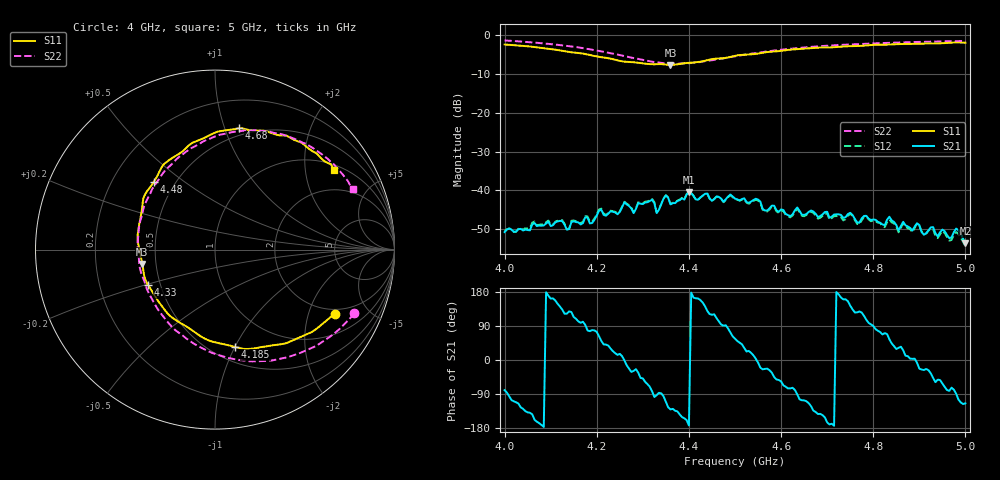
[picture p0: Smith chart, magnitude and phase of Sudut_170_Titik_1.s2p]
# Hz S RI R 50
! CMT, C1220, 16058040, 17.2.0/1
! Date: 15/08/2018 11:33:39
! Data: Format (Calibration Info)
! Freq  S11: Re/Im (F2)  S21: Re/Im (F2)  S12: Re/Im (F2)  S22: Re/Im (F2)
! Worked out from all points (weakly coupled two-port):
!   201 points, 4 GHz to 5 GHz, reference 50 ohm
!   highest |S21| = -40.44 dB at 4.4 GHz (marker M1); lowest = -53.6 dB at 5 GHz (marker M2)
!   lowest |S11| = -7.7 dB at 4.36 GHz (marker M3), VSWR 2.40, Z = 21 - j4.01 ohm
!   |S11| at or under -10 dB: nowhere
!   |S22| runs from -7.4 to -1.4 dB; largest |S21 - S12| = 0.00037
!   S11 on the Smith chart (normalised r, x): 4 GHz: 1.80, -2.99; 4.185 GHz: 0.64, -1.00; 4.33 GHz: 0.43, -0.21; 4.48 GHz: 0.38, +0.39; 4.68 GHz: 0.43, +1.12; 5 GHz: 1.16, +2.85
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4e9  0.6668 -0.356  0.000524 -0.00286  0.000615 -0.00294  0.7748 -0.3543
4.17e9  0.1643 -0.5535  -0.000727 0.00373  -0.000832 0.00386  0.2744 -0.6207
4.185e9  0.1111 -0.5427  0.000911 0.00365  0.000871 0.00384  0.2101 -0.6226
4.26e9  -0.1737 -0.4197  0.00705 -0.000101  0.00715 -9.17e-05  -0.1179 -0.5241
4.28e9  -0.2483 -0.3714  0.00447 -0.00246  0.00459 -0.00253  -0.1982 -0.4653
4.32e9  -0.3504 -0.233  0.000986 -0.00751  0.0009 -0.00772  -0.3313 -0.3112
4.33e9  -0.3719 -0.1992  -0.000246 -0.00511  -0.000381 -0.00518  -0.3551 -0.2693
4.335e9  -0.3821 -0.1814  0.000345 -0.00565  0.000249 -0.00573  -0.3674 -0.2461
4.35e9  -0.3985 -0.122  -0.00303 -0.0081  -0.00309 -0.00807  -0.3952 -0.172
4.36e9  -0.4049 -0.0794  -0.00428 -0.00503  -0.00438 -0.00501  -0.4128 -0.126
4.4e9  -0.4304 0.087  -0.00943 -0.00122  -0.00946 -0.00106  -0.4274 0.0747
4.48e9  -0.3418 0.3758  -0.000213 0.00768  2.5e-05 0.00753  -0.3013 0.4101
4.5e9  -0.3039 0.4459  0.00435 0.00652  0.00432 0.00636  -0.2462 0.4712
4.67e9  0.1131 0.6717  -0.00368 -0.00388  -0.00357 -0.00365  0.2478 0.6633
4.68e9  0.1323 0.676  -0.00361 -0.00276  -0.00347 -0.0026  0.2721 0.6602
4.825e9  0.4264 0.6185  0.00116 0.00337  0.0012 0.00314  0.5677 0.5503
4.835e9  0.4454 0.6091  0.00265 0.00374  0.00238 0.00349  0.5821 0.54
4.855e9  0.4772 0.5982  0.00258 0.00162  0.00244 0.00154  0.612 0.5174
4.895e9  0.5349 0.5536  0.00374 -0.000481  0.00367 -0.000331  0.6648 0.4718
4.965e9  0.6343 0.4808  0.00036 -0.0024  0.000351 -0.00222  0.7387 0.3842
4.98e9  0.6466 0.4737  5.11e-05 -0.00323  4.94e-05 -0.00292  0.75 0.3638
5e9  0.6617 0.4462  -0.000861 -0.0019  -0.000678 -0.00179  0.768 0.337
